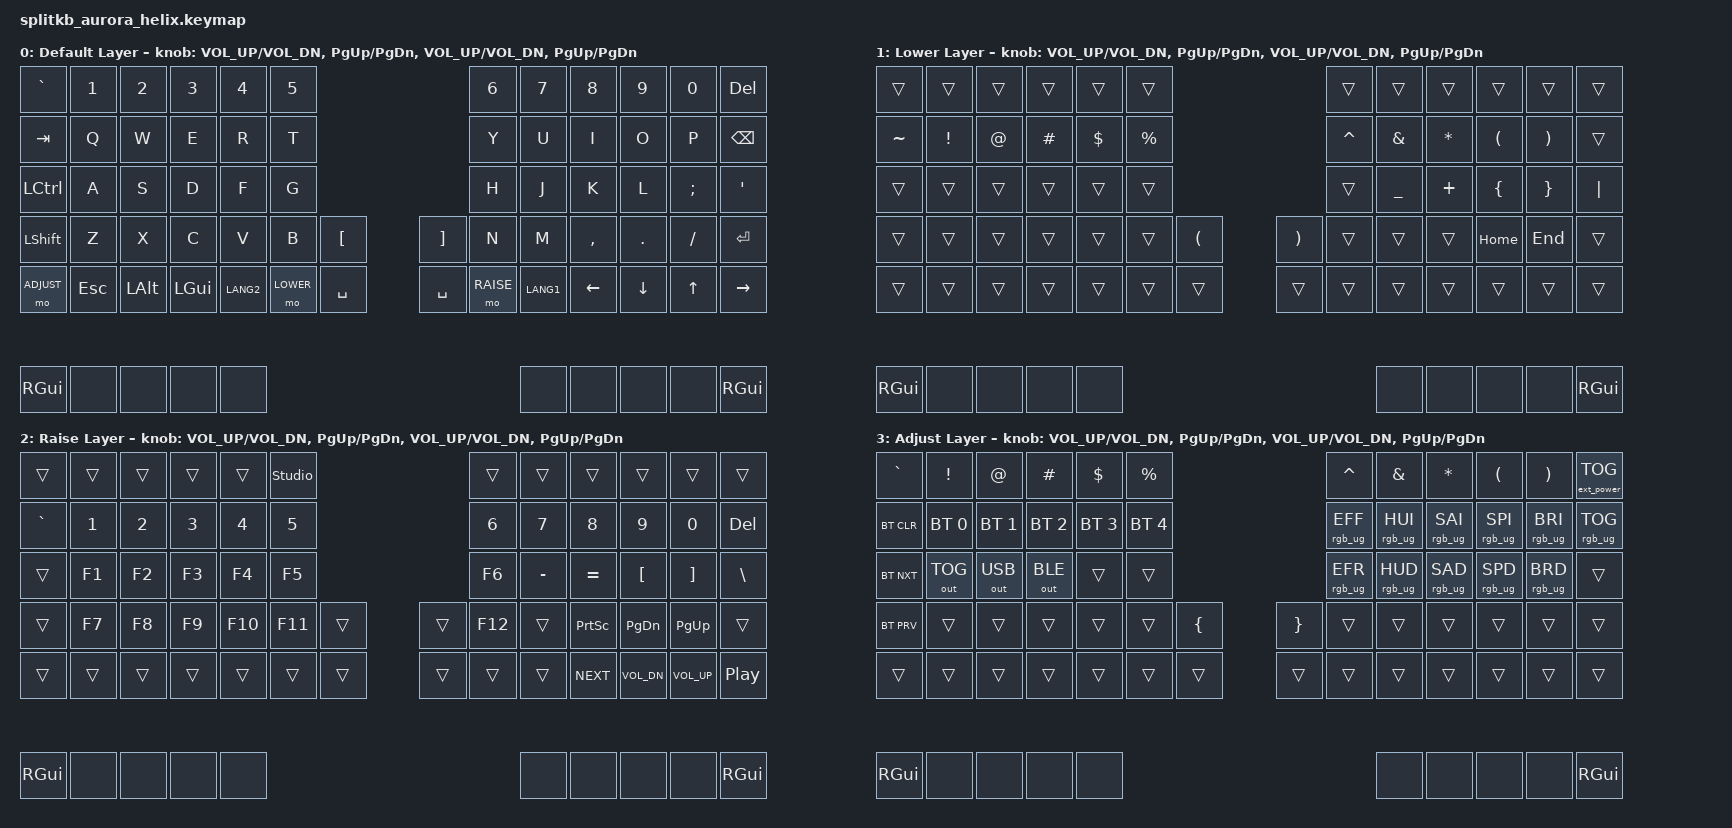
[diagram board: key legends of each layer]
/*
 * Copyright (c) 2023 The ZMK Contributors
 *
 * SPDX-License-Identifier: MIT
 */

#include <behaviors.dtsi>
#include <dt-bindings/zmk/keys.h>
#include <dt-bindings/zmk/bt.h>
#include <dt-bindings/zmk/rgb.h>
#include <dt-bindings/zmk/ext_power.h>
#include <dt-bindings/zmk/outputs.h>

#define DEFAULT 0
#define LOWER  1
#define RAISE  2
#define ADJUST 3

&led_strip {
    // chain-length = <6>;  // Uncomment if using only underglow LEDs
    chain-length = <35>;
    // chain-length = <29>; // Uncomment if using only per-key LEDs.
};

/* NOTE: At the time of the creation of this keymap, there are no specified codes for 'eisuu' and 'kana' input in ZMK.
However, 'LANG1' and 'LANG2' are fully-functioning candidates for 'kana' and 'eisuu' input respectively.
As such, those are in use within the default layer at this time.*/

/ {
       keymap {
              compatible = "zmk,keymap";

              default_layer {
                     display-name = "Default Layer";
                     // ---------------------------------------------------------------------------------------------------------------------------------
                     // | GRAVE  |   1    |   2    |   3    |   4    |   5    |                                      |   6    |   7    |   8    |   9    |   0    |  DEL   |
                     // |  TAB   |   Q    |   W    |   E    |   R    |   T    |                                      |   Y    |   U    |   I    |   O    |   P    |  BSPC  |
                     // |  CTRL  |   A    |   S    |   D    |   F    |   G    |                                      |   H    |   J    |   K    |   L    |   ;    |   '    |
                     // |  SHIFT |   Z    |   X    |   C    |   V    |   B    |  LBKT  |                    |  RBKT  |   N    |   M    |   ,    |   .    |   /    |  RET   |
                     // | ADJUST |  ESC   |  ALT   |  LGUI  | EISUU  | LOWER  | SPACE  |                    |  SPACE | RAISE  |  KANA  |  LEFT  |  DOWN  |  UP    |  RIGHT |
                     bindings = <
                     &kp GRAVE  &kp N1  &kp N2   &kp N3   &kp N4    &kp N5                               &kp N6    &kp N7    &kp N8    &kp N9     &kp N0    &kp DEL
                     &kp TAB    &kp Q   &kp W    &kp E    &kp R     &kp T                                &kp Y     &kp U     &kp I     &kp O      &kp P     &kp BSPC
                     &kp LCTRL  &kp A   &kp S    &kp D    &kp F     &kp G                                &kp H     &kp J     &kp K     &kp L      &kp SEMI  &kp SQT
                     &kp LSHFT  &kp Z   &kp X    &kp C    &kp V     &kp B     &kp LBKT         &kp RBKT  &kp N     &kp M     &kp COMMA &kp PERIOD &kp SLASH &kp RET
                     &mo ADJUST &kp ESC &kp LALT &kp LGUI &kp LANG2 &mo LOWER &kp SPACE        &kp SPACE &mo RAISE &kp LANG1 &kp LEFT  &kp DOWN   &kp UP    &kp RIGHT

                     &kp RGUI &none &none &none &none                                                                               &none &none &none &none &kp RGUI
                     >;

                     sensor-bindings = <&inc_dec_kp C_VOL_UP C_VOL_DN &inc_dec_kp PG_UP PG_DN &inc_dec_kp C_VOL_UP C_VOL_DN &inc_dec_kp PG_UP PG_DN>;
              };
              lower_layer {
                     display-name = "Lower Layer";
                     // ---------------------------------------------------------------------------------------------------------------------------------
                     // |      |      |      |      |      |      |                                  |      |      |      |      |      |      |
                     // |  ~   |  !   |  @   |  #   |  $   |  %   |                                  |  ^   |  &   |  *   |  (   |  )   |      |
                     // |      |      |      |      |      |      |                                  |      |  _   |  +   |  {   |  }   | PIPE |
                     // |      |      |      |      |      |      |  (   |                    |  )   |      |      |      | HOME | END  |      |
                     // |      |      |      |      |      |      |      |                    |      |      |      |      |      |      |      |
                     bindings = <
                     &trans    &trans   &trans &trans   &trans   &trans                             &trans    &trans    &trans    &trans   &trans   &trans
                     &kp TILDE &kp EXCL &kp AT &kp HASH &kp DLLR &kp PRCNT                          &kp CARET &kp AMPS  &kp ASTRK &kp LPAR &kp RPAR &trans
                     &trans    &trans   &trans &trans   &trans   &trans                             &trans    &kp UNDER &kp PLUS  &kp LBRC &kp RBRC &kp PIPE
                     &trans    &trans   &trans &trans   &trans   &trans    &kp LPAR        &kp RPAR &trans    &trans    &trans    &kp HOME &kp END  &trans
                     &trans    &trans   &trans &trans   &trans   &trans    &trans          &trans   &trans    &trans    &trans    &trans   &trans   &trans

                     &kp RGUI &none &none &none &none                                                                               &none &none &none &none &kp RGUI
                     >;

                     sensor-bindings = <&inc_dec_kp C_VOL_UP C_VOL_DN &inc_dec_kp PG_UP PG_DN &inc_dec_kp C_VOL_UP C_VOL_DN &inc_dec_kp PG_UP PG_DN>;
              };
              raise_layer {
                     display-name = "Raise Layer";
                     // ---------------------------------------------------------------------------------------------------------------------------------
                     // |       |       |       |       |       |STUDIO |                                    |       |       |       |       |       |       |
                     // |   `   |   1   |   2   |   3   |   4   |   5   |                                    |   6   |   7   |   8   |   9   |   0   |  DEL  |
                     // |       |  F1   |  F2   |  F3   |  F4   |  F5   |                                    |  F6   |   -   |   =   |   [   |   ]   |   \   |
                     // |       |  F7   |  F8   |  F9   |  F10  |  F11  |       |                    |       |  F12  |       | PSCRN | PG_DN | PG_UP |       |
                     // |       |       |       |       |       |       |       |                    |       |       |       | NEXT  | VOL-  | VOL+  | PLAY  |
                     bindings = <
                     &trans    &trans &trans &trans &trans  &studio_unlock               &trans  &trans    &trans     &trans       &trans       &trans
                     &kp GRAVE &kp N1 &kp N2 &kp N3 &kp N4  &kp N5                       &kp N6  &kp N7    &kp N8     &kp N9       &kp N0       &kp DEL
                     &trans    &kp F1 &kp F2 &kp F3 &kp F4  &kp F5                       &kp F6  &kp MINUS &kp EQUAL  &kp LBKT     &kp RBKT     &kp BSLH
                     &trans    &kp F7 &kp F8 &kp F9 &kp F10 &kp F11 &trans        &trans &kp F12 &trans    &kp PSCRN  &kp PG_DN    &kp PG_UP    &trans
                     &trans    &trans &trans &trans &trans  &trans  &trans        &trans &trans  &trans    &kp C_NEXT &kp C_VOL_DN &kp C_VOL_UP &kp C_PP

                     &kp RGUI &none &none &none &none                                                                               &none &none &none &none &kp RGUI
                     >;

                     sensor-bindings = <&inc_dec_kp C_VOL_UP C_VOL_DN &inc_dec_kp PG_UP PG_DN &inc_dec_kp C_VOL_UP C_VOL_DN &inc_dec_kp PG_UP PG_DN>;
              };
              adjust_layer {
                     display-name = "Adjust Layer";
                     // ---------------------------------------------------------------------------------------------------------------------------------
                     // |    `     |    !     |    @     |    #     |    $     |    %     |                                          |    ^     |    &     |    *     |    (     |    )     |  EP TOG  |
                     // |  BT CLR  | BT SEL0  | BT SEL1  | BT SEL2  | BGT SEL3 | BT SEL4  |                                          | RGB EFF+ | RGB HUE+ | RGB SAT+ | RGB SPD+ | RGB BRI+ | RGB TOG  |
                     // |  BT NXT  | OUT TOG  | OUT USB  | OUT BLE  |          |          |                                          | RGB EFF- | RGB HUE- | RGB SAT- | RGB SPD- | RGB BRI- |          |
                     // |  BT PRV  |          |          |          |          |          |    {     |                    |    }     |          |          |          |          |          |          |
                     // |          |          |          |          |          |          |          |                    |          |          |          |          |          |          |          |
                     bindings = <
                     &kp GRAVE  &kp EXCL     &kp AT       &kp HASH     &kp DLLR     &kp PRCNT                             &kp CARET       &kp AMPS        &kp ASTRK       &kp LPAR        &kp RPAR        &ext_power EP_TOG
                     &bt BT_CLR &bt BT_SEL 0 &bt BT_SEL 1 &bt BT_SEL 2 &bt BT_SEL 3 &bt BT_SEL 4                          &rgb_ug RGB_EFF &rgb_ug RGB_HUI &rgb_ug RGB_SAI &rgb_ug RGB_SPI &rgb_ug RGB_BRI &rgb_ug RGB_TOG
                     &bt BT_NXT &out OUT_TOG &out OUT_USB &out OUT_BLE &trans       &trans                                &rgb_ug RGB_EFR &rgb_ug RGB_HUD &rgb_ug RGB_SAD &rgb_ug RGB_SPD &rgb_ug RGB_BRD &trans
                     &bt BT_PRV &trans       &trans       &trans       &trans       &trans       &kp LBRC        &kp RBRC &trans          &trans          &trans          &trans          &trans          &trans
                     &trans     &trans       &trans       &trans       &trans       &trans       &trans          &trans   &trans          &trans          &trans          &trans          &trans          &trans

                     &kp RGUI &none &none &none &none                                                                               &none &none &none &none &kp RGUI
                     >;

                     sensor-bindings = <&inc_dec_kp C_VOL_UP C_VOL_DN &inc_dec_kp PG_UP PG_DN &inc_dec_kp C_VOL_UP C_VOL_DN &inc_dec_kp PG_UP PG_DN>;
              };
       };
};
